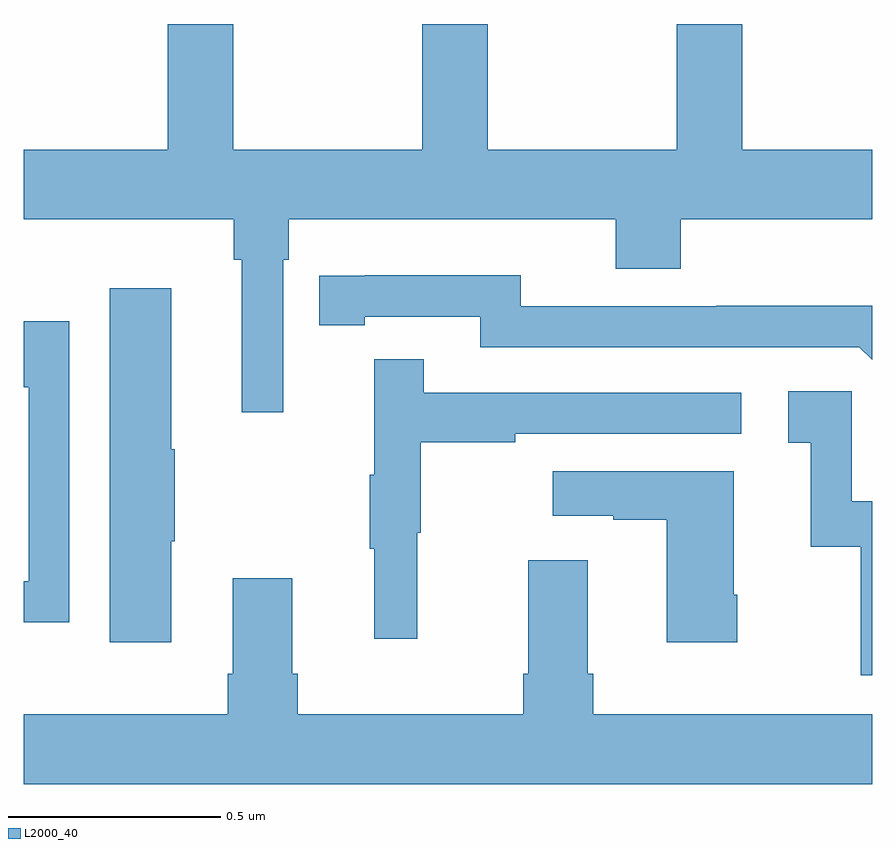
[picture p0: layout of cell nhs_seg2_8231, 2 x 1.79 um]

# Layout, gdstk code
import gdstk
lib = gdstk.Library(unit=1e-6, precision=1e-09)
def P(c, l, *ps):  # polygons
    for p in ps: c.add(gdstk.Polygon(p, *l))
L2000_40 = (2000, 40)

nhs_seg2_8231 = lib.new_cell('nhs_seg2_8231')
P(nhs_seg2_8231, L2000_40, [(214.611,610.244),(214.625,610.244),(214.625,610.34),(215.396,610.34),(215.396,610.223),(215.549,610.223),(215.549,610.34),(216,610.34),(216,610.504),(215.694,610.504),(215.694,610.8),(215.539,610.8),(215.539,610.504),(215.094,610.504),(215.094,610.8),(214.939,610.8),(214.939,610.504),(214.494,610.504),(214.494,610.8),(214.339,610.8),(214.339,610.504),(214,610.504),(214,610.34),(214.495,610.34),(214.495,610.244),(214.514,610.244),(214.514,609.885),(214.611,609.885)],
  [(216,610.136),(215.632,610.136),(215.632,610.134),(215.172,610.134),(215.172,610.207),(214.804,610.207),(214.804,610.206),(214.696,610.206),(214.696,610.09),(214.804,610.09),(214.804,610.11),(215.076,610.11),(215.076,610.038),(215.97,610.038),(216,610.008)],
  [(214.348,609.58),(214.356,609.58),(214.356,609.797),(214.348,609.797),(214.348,610.177),(214.202,610.177),(214.202,609.342),(214.348,609.342)],
  [(214.107,610.099),(214,610.099),(214,609.943),(214.011,609.943),(214.011,609.486),(214,609.486),(214,609.389),(214.107,609.389)],
  [(214.928,609.6),(214.936,609.6),(214.936,609.814),(215.159,609.814),(215.159,609.834),(215.692,609.834),(215.692,609.93),(214.943,609.93),(214.943,610.009),(214.826,610.009),(214.826,609.737),(214.815,609.737),(214.815,609.563),(214.826,609.563),(214.826,609.351),(214.928,609.351)],
  [(216,609.675),(215.952,609.675),(215.952,609.934),(215.802,609.934),(215.802,609.813),(215.855,609.813),(215.855,609.567),(215.973,609.567),(215.973,609.264),(216,609.264)],
  [(215.682,609.454),(215.674,609.454),(215.674,609.745),(215.247,609.745),(215.247,609.641),(215.39,609.641),(215.39,609.631),(215.516,609.631),(215.516,609.342),(215.682,609.342)],
  [(216,609.172),(215.342,609.172),(215.342,609.268),(215.329,609.268),(215.329,609.535),(215.189,609.535),(215.189,609.268),(215.177,609.268),(215.177,609.172),(214.646,609.172),(214.646,609.268),(214.633,609.268),(214.633,609.493),(214.493,609.493),(214.493,609.268),(214.481,609.268),(214.481,609.172),(214,609.172),(214,609.008),(216,609.008)])

lib.write_gds('nhs_seg2_8231.gds')
